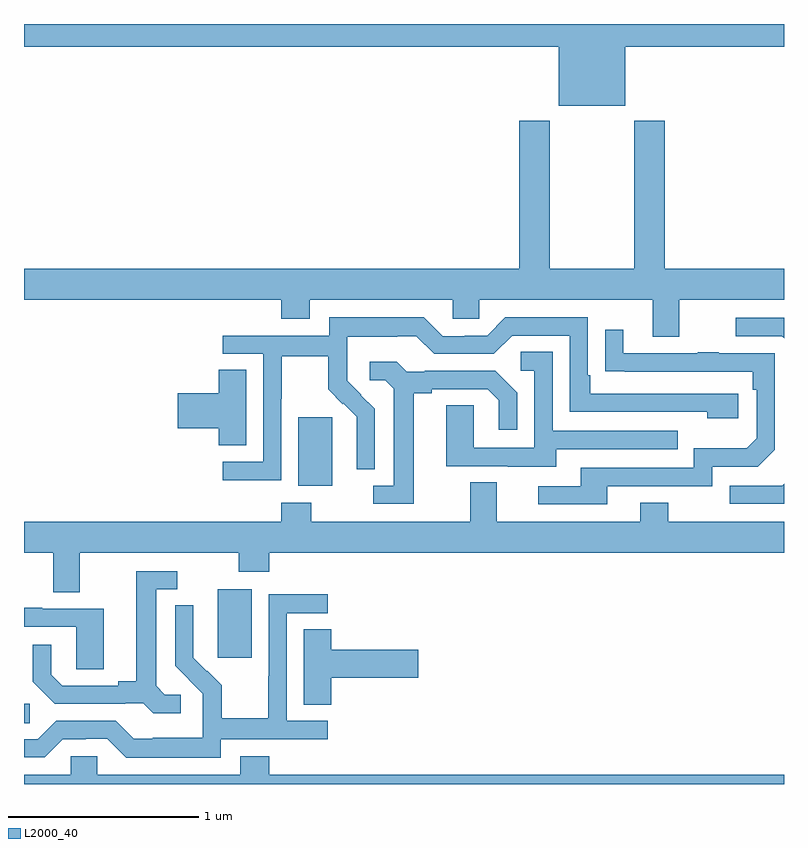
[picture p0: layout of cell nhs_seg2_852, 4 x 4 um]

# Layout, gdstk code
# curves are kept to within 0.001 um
import gdstk
lib = gdstk.Library(unit=1e-6, precision=1e-09)
def R(c, l, rs):  # rectangles x0, y0, x1, y1
    for r in rs: c.add(gdstk.rectangle(r[:2], r[2:], *l))
def P(c, l, *ps):  # polygons
    for p in ps: c.add(gdstk.Polygon(p, *l))
L2000_40 = (2000, 40)

nhs_seg2_852 = lib.new_cell('nhs_seg2_852')
R(nhs_seg2_852, L2000_40, [(155,600.121,155.029,600.222), (156.02,600.465,156.199,600.826), (156.443,601.37,156.622,601.731)])
P(nhs_seg2_852, L2000_40, [(158.164,603.68),(159,603.68),(159,603.8),(155,603.8),(155,603.68),(157.814,603.68),(157.814,603.371),(158.164,603.371)],
  [(158.372,603.292),(158.212,603.292),(158.212,602.512),(157.767,602.512),(157.767,603.292),(157.607,603.292),(157.607,602.512),(155,602.512),(155,602.348),(156.353,602.348),(156.353,602.249),(156.505,602.249),(156.505,602.348),(157.257,602.348),(157.257,602.25),(157.395,602.25),(157.395,602.348),(158.309,602.348),(158.309,602.154),(158.449,602.154),(158.449,602.348),(159,602.348),(159,602.512),(158.372,602.512)],
  [(156.354,601.828),(156.357,601.828),(156.357,602.052),(156.601,602.052),(156.601,601.877),(156.678,601.8),(156.681,601.803),(156.752,601.733),(156.752,601.61),(156.75,601.61),(156.75,601.456),(156.846,601.456),(156.846,601.774),(156.7,601.922),(156.7,602.019),(156.702,602.019),(156.702,602.153),(156.965,602.153),(156.965,602.157),(157.065,602.157),(157.158,602.064),(157.473,602.064),(157.569,602.16),(157.872,602.16),(157.872,601.758),(158.597,601.758),(158.597,601.724),(158.758,601.724),(158.758,601.854),(157.981,601.854),(157.981,601.951),(157.968,601.951),(157.968,602.256),(157.533,602.256),(157.437,602.16),(157.319,602.16),(157.319,602.157),(157.203,602.157),(157.103,602.257),(156.606,602.257),(156.606,602.16),(156.045,602.16),(156.045,602.064),(156.258,602.064),(156.258,601.497),(156.045,601.497),(156.045,601.399),(156.354,601.399)],
  [(159,602.253),(158.745,602.253),(158.745,602.157),(158.988,602.157),(159,602.145)],
  [(158.071,601.368),(158.622,601.368),(158.622,601.47),(158.862,601.47),(158.952,601.56),(158.952,602.067),(158.657,602.067),(158.657,602.072),(158.545,602.072),(158.545,602.067),(158.155,602.067),(158.155,602.191),(158.059,602.191),(158.059,601.972),(158.836,601.971),(158.836,601.874),(158.856,601.874),(158.856,601.62),(158.803,601.567),(158.526,601.567),(158.526,601.464),(157.931,601.464),(157.931,601.368),(157.707,601.368),(157.707,601.272),(158.071,601.272)],
  [(157.801,601.563),(158.441,601.563),(158.441,601.659),(157.782,601.659),(157.782,602.075),(157.614,602.075),(157.614,601.974),(157.686,601.974),(157.686,601.569),(157.368,601.569),(157.368,601.793),(157.223,601.793),(157.223,601.473),(157.547,601.473),(157.547,601.469),(157.801,601.469)],
  [(157.051,601.856),(157.147,601.856),(157.147,601.878),(157.442,601.878),(157.499,601.821),(157.499,601.665),(157.596,601.665),(157.596,601.858),(157.48,601.974),(157.108,601.974),(157.108,601.971),(157.014,601.971),(156.962,602.023),(156.819,602.023),(156.819,601.926),(156.9,601.926),(156.947,601.879),(156.947,601.371),(156.837,601.371),(156.837,601.275),(157.051,601.275)],
  [(156.169,601.979),(156.026,601.979),(156.026,601.856),(155.808,601.856),(155.808,601.673),(156.026,601.673),(156.026,601.582),(156.169,601.582)],
  [(155.293,601.016),(156.13,601.016),(156.13,600.917),(156.29,600.917),(156.29,601.016),(159,601.016),(159,601.18),(158.391,601.18),(158.391,601.279),(158.243,601.279),(158.243,601.18),(157.489,601.18),(157.489,601.388),(157.349,601.388),(157.349,601.18),(156.513,601.18),(156.513,601.279),(156.353,601.279),(156.353,601.18),(155,601.18),(155,601.016),(155.153,601.016),(155.153,600.808),(155.293,600.808)],
  [(159,601.38),(158.991,601.371),(158.715,601.371),(158.715,601.275),(159,601.275)],
  [(155.824,600.27),(155.742,600.27),(155.695,600.317),(155.695,600.825),(155.806,600.825),(155.806,600.921),(155.591,600.921),(155.591,600.341),(155.495,600.341),(155.495,600.318),(155.2,600.318),(155.143,600.375),(155.143,600.532),(155.046,600.532),(155.046,600.338),(155.162,600.222),(155.534,600.222),(155.534,600.225),(155.628,600.225),(155.68,600.173),(155.824,600.173)],
  [(156.036,600.036),(156.598,600.036),(156.598,600.132),(156.384,600.132),(156.384,600.699),(156.598,600.699),(156.598,600.798),(156.288,600.798),(156.288,600.368),(156.286,600.368),(156.286,600.145),(156.041,600.145),(156.041,600.319),(155.964,600.396),(155.961,600.393),(155.891,600.464),(155.892,600.74),(155.796,600.74),(155.796,600.422),(155.942,600.274),(155.942,600.177),(155.94,600.177),(155.94,600.043),(155.677,600.043),(155.677,600.039),(155.577,600.039),(155.484,600.132),(155.169,600.132),(155.073,600.036),(155,600.036),(155,599.94),(155.109,599.94),(155.205,600.036),(155.324,600.036),(155.324,600.039),(155.439,600.039),(155.539,599.939),(156.036,599.939)],
  [(155.419,600.723),(155.095,600.723),(155.095,600.727),(155,600.727),(155,600.627),(155.274,600.627),(155.274,600.403),(155.419,600.403)],
  [(156.617,600.359),(157.075,600.359),(157.075,600.506),(156.617,600.506),(156.617,600.614),(156.473,600.614),(156.473,600.217),(156.617,600.217)],
  [(159,599.848),(156.29,599.848),(156.29,599.947),(156.137,599.947),(156.137,599.848),(155.385,599.848),(155.385,599.946),(155.247,599.946),(155.247,599.848),(155,599.848),(155,599.8),(159,599.8)])

lib.write_gds('nhs_seg2_852.gds')
